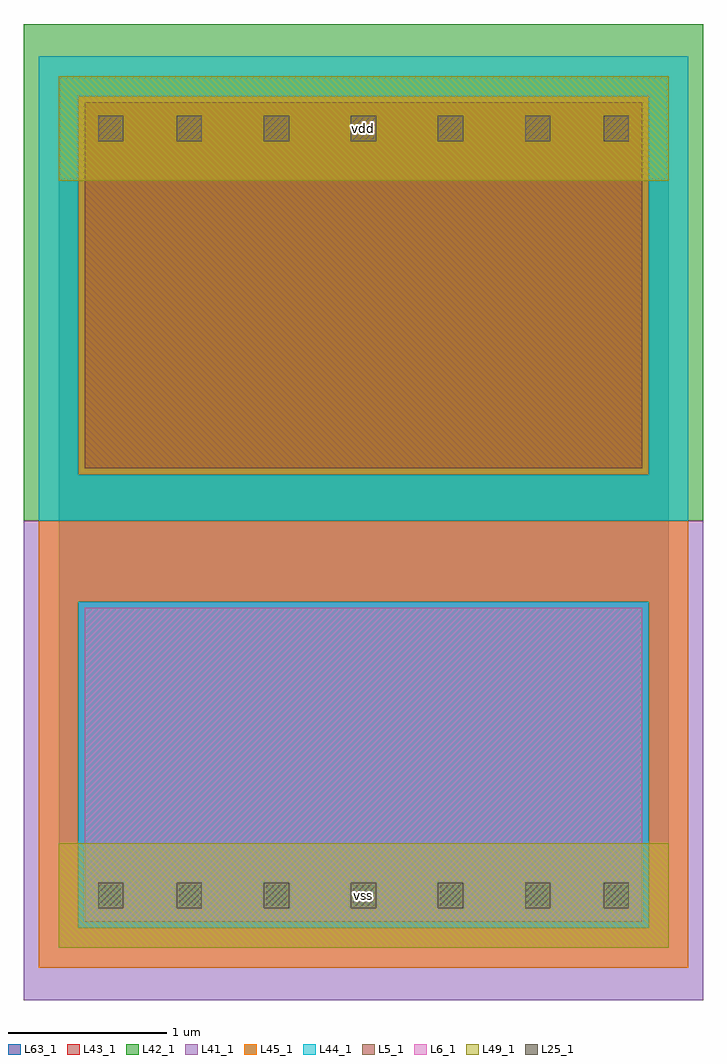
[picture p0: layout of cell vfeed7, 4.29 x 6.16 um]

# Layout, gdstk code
import gdstk
lib = gdstk.Library(unit=1e-6, precision=1e-09)
def R(c, l, rs):  # rectangles x0, y0, x1, y1
    for r in rs: c.add(gdstk.rectangle(r[:2], r[2:], *l))
def A(c, l, x, y, w, h, nx, ny, dx, dy):  # array of equal rectangles
    R(c, l, [(x+i*dx, y+j*dy, x+i*dx+w, y+j*dy+h) for i in range(nx) for j in range(ny)])
L5_1 = (5, 1)
L6_1 = (6, 1)
L25_1 = (25, 1)
L41_1 = (41, 1)
L42_1 = (42, 1)
L43_1 = (43, 1)
L44_1 = (44, 1)
L45_1 = (45, 1)
L49_1 = (49, 1)
L63_1 = (63, 1)

vfeed7 = lib.new_cell('vfeed7')
R(vfeed7, L5_1, [(0.165,3.025,3.685,5.335)])
R(vfeed7, L6_1, [(0.165,0.165,3.685,2.145)])
A(vfeed7, L25_1, 0.745, 0.25, 0.16, 0.16, 5, 2, 0.55, 4.84)
R(vfeed7, L25_1, [(0.25,0.25,0.41,0.41), (3.44,0.25,3.6,0.41), (0.25,5.09,0.41,5.25), (3.44,5.09,3.6,5.25)])
R(vfeed7, L41_1, [(-0.22,-0.33,4.07,2.695)])
R(vfeed7, L42_1, [(-0.22,2.695,4.07,5.83)])
R(vfeed7, L43_1, [(0.165,0.165,3.685,2.145), (0.165,3.025,3.685,5.335)])
R(vfeed7, L44_1, [(0.125,0.125,3.725,2.185), (-0.125,2.695,3.975,2.985), (-0.125,2.985,0.125,5.375), (3.725,2.985,3.975,5.375), (-0.125,5.375,3.975,5.625)])
R(vfeed7, L45_1, [(-0.125,-0.125,3.975,0.125), (-0.125,0.125,0.125,2.185), (3.725,0.125,3.975,2.185), (-0.125,2.185,3.975,2.695), (0.125,2.985,3.725,5.375)])
R(vfeed7, L49_1, [(0,0,3.85,0.66), (0,4.84,3.85,5.5)])
R(vfeed7, L63_1, [(0,0,3.85,5.5)])
vfeed7.add(gdstk.Label('vss', (1.925,0.33), layer=49, texttype=1))
vfeed7.add(gdstk.Label('vss', (1.925,0.33), layer=49, texttype=1))
vfeed7.add(gdstk.Label('vdd', (1.925,5.17), layer=49, texttype=1))
vfeed7.add(gdstk.Label('vdd', (1.925,5.17), layer=49, texttype=1))

lib.write_gds('vfeed7.gds')
